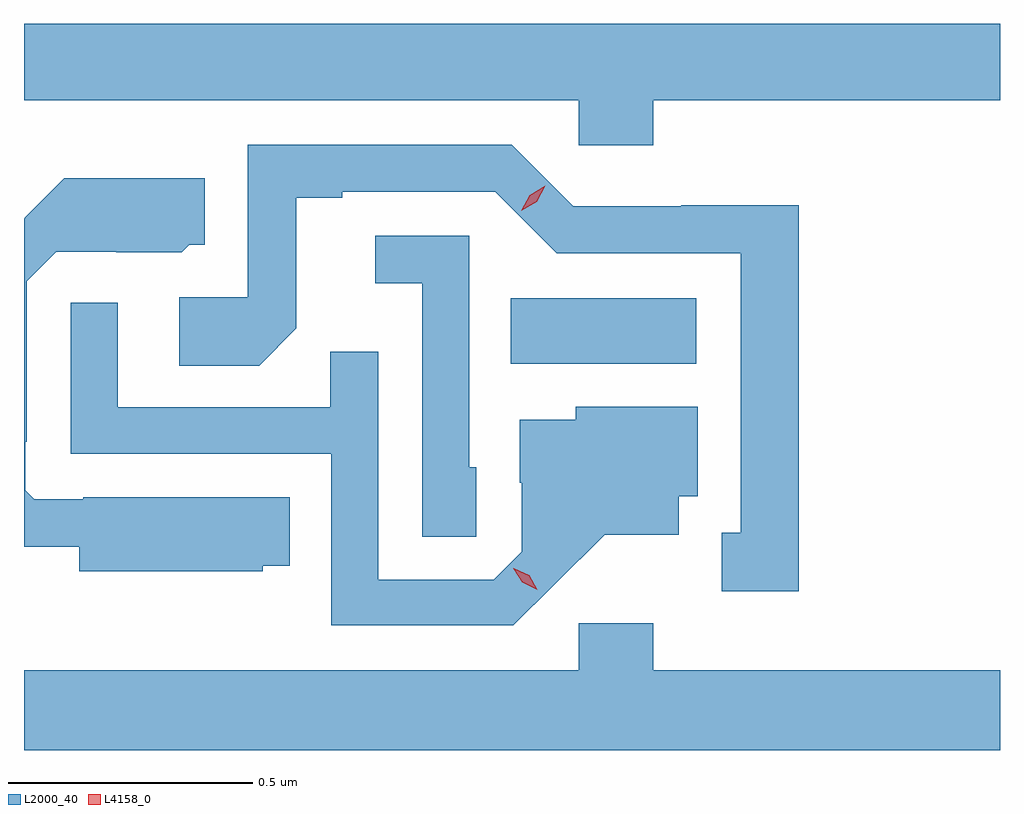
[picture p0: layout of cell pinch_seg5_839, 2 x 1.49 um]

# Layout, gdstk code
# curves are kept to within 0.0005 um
import gdstk
lib = gdstk.Library(unit=1e-6, precision=1e-09)
def R(c, l, rs):  # rectangles x0, y0, x1, y1
    for r in rs: c.add(gdstk.rectangle(r[:2], r[2:], *l))
def P(c, l, *ps):  # polygons
    for p in ps: c.add(gdstk.Polygon(p, *l))
L2000_40 = (2000, 40)
L4158_0 = (4158, 0)

pinch_seg5_839 = lib.new_cell('pinch_seg5_839')
R(pinch_seg5_839, L2000_40, [(783.166,874.868,783.547,875.002)])
P(pinch_seg5_839, L2000_40, [(783.458,875.408),(784.169,875.408),(784.169,875.564),(782.169,875.564),(782.169,875.408),(783.306,875.408),(783.306,875.315),(783.458,875.315)],
  [(783.757,875.192),(783.516,875.192),(783.516,875.19),(783.294,875.19),(783.168,875.316),(782.628,875.316),(782.628,875.004),(782.487,875.004),(782.487,874.864),(782.651,874.864),(782.727,874.94),(782.727,875.208),(782.821,875.208),(782.821,875.22),(783.135,875.22),(783.261,875.094),(783.638,875.094),(783.638,874.521),(783.599,874.521),(783.599,874.401),(783.757,874.401)],
  [(782.658,874.454),(782.714,874.454),(782.714,874.594),(782.29,874.594),(782.29,874.59),(782.19,874.59),(782.172,874.608),(782.172,874.708),(782.175,874.708),(782.175,875.037),(782.235,875.097),(782.358,875.097),(782.358,875.096),(782.492,875.096),(782.508,875.112),(782.539,875.112),(782.539,875.248),(782.251,875.248),(782.169,875.165),(782.169,874.493),(782.282,874.493),(782.282,874.442),(782.658,874.442)],
  [(783.096,874.656),(783.081,874.656),(783.081,875.13),(782.889,875.13),(782.889,875.033),(782.985,875.033),(782.985,874.513),(783.096,874.513)],
  [(783.256,874.415),(783.359,874.517),(783.511,874.517),(783.511,874.596),(783.55,874.596),(783.55,874.78),(783.3,874.78),(783.3,874.753),(783.185,874.753),(783.185,874.624),(783.189,874.624),(783.189,874.482),(783.132,874.425),(782.895,874.425),(782.895,874.892),(782.797,874.892),(782.797,874.779),(782.361,874.779),(782.361,874.993),(782.265,874.993),(782.265,874.683),(782.799,874.683),(782.799,874.332),(783.172,874.332)],
  [(784.169,874.24),(783.458,874.24),(783.458,874.336),(783.306,874.336),(783.306,874.24),(782.169,874.24),(782.169,874.076),(784.169,874.076)])
P(pinch_seg5_839, L4158_0, [(783.188,875.181),(783.188,875.181),(783.205,875.213),(783.237,875.232),(783.237,875.232),(783.237,875.232),(783.22,875.2),(783.188,875.181)],
  [(783.221,874.405),(783.19,874.42),(783.172,874.449),(783.172,874.449),(783.173,874.449),(783.204,874.434),(783.221,874.405),(783.221,874.405)])

lib.write_gds('pinch_seg5_839.gds')
